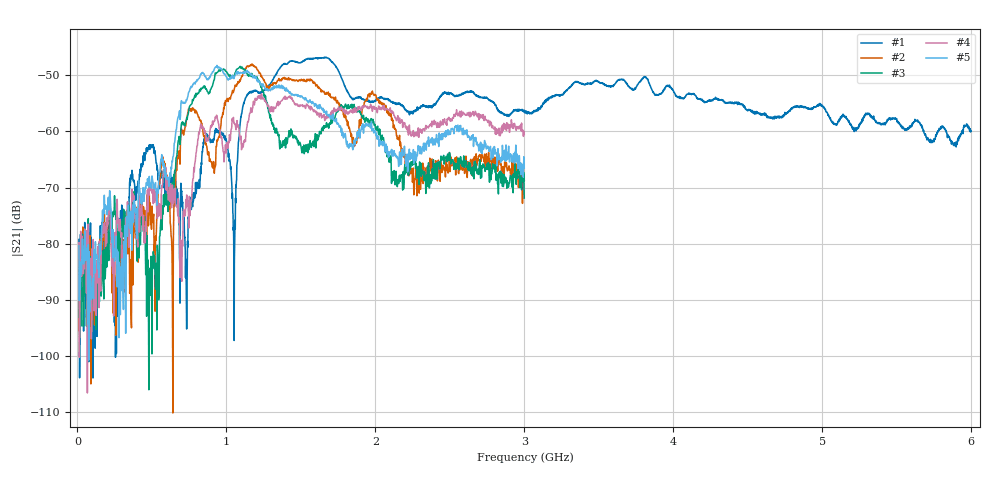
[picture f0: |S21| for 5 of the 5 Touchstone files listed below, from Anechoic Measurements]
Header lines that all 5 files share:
! Ref Plane: 0.000 mm
# MHZ S MA R  50
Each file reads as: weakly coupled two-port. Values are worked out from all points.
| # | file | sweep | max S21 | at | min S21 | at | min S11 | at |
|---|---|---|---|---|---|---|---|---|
| 1 | Copper_Dipole_Ave10,F_10M_6000MHz.s2p | 10 MHz to 6 GHz | -46.79 dB | 1.671 GHz | -103.9 dB | 104.3 MHz | -36.3 dB | 2.734 GHz |
| 2 | copper_Dipole_F_10M_3000MHz_block sqashed.s2p | 10 MHz to 3 GHz | -47.99 dB | 1.173 GHz | -110.2 dB | 640.9 MHz | -31.8 dB | 2.719 GHz |
| 3 | pedot_Dipole_F_10M_3000MHz_block sqashed 1.s2p | 10 MHz to 3 GHz | -48.42 dB | 1.092 GHz | -106.0 dB | 479.4 MHz | -38.0 dB | 2.734 GHz |
| 4 | pedot_Dipole_F_10M_3000MHz_thin_pushed.s2p | 10 MHz to 3 GHz | -53.31 dB | 1.236 GHz | -106.6 dB | 66.81 MHz | -44.1 dB | 2.722 GHz |
| 5 | pedot_Dipole_F_10M_3000MHz_thin_pushed_edge.s2p | 10 MHz to 3 GHz | -48.25 dB | 936.9 MHz | -100.8 dB | 75.78 MHz | -36.8 dB | 2.713 GHz |
